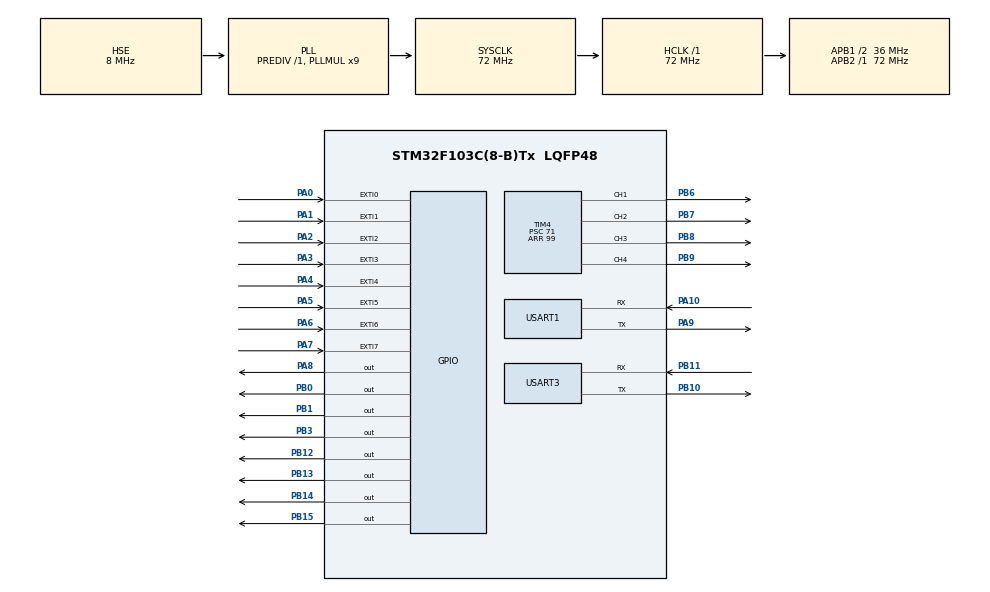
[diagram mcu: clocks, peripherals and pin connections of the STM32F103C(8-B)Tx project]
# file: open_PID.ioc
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Mcu.Family=STM32F1
Mcu.Name=STM32F103C(8-B)Tx
Mcu.Package=LQFP48
NVIC.EXTI0_IRQn=true\:0\:0\:false\:false\:true\:true\:true
NVIC.EXTI1_IRQn=true\:0\:0\:false\:false\:true\:true\:true
NVIC.EXTI2_IRQn=true\:0\:0\:false\:false\:true\:true\:true
NVIC.EXTI3_IRQn=true\:0\:0\:false\:false\:true\:true\:true
NVIC.EXTI4_IRQn=true\:0\:0\:false\:false\:true\:true\:true
NVIC.EXTI9_5_IRQn=true\:0\:0\:false\:false\:true\:true\:true
NVIC.PriorityGroup=NVIC_PRIORITYGROUP_4
NVIC.USART1_IRQn=true\:0\:0\:false\:false\:true\:true\:true
NVIC.USART3_IRQn=true\:0\:0\:false\:false\:true\:true\:true
PA0-WKUP.Signal=GPXTI0
PA1.Signal=GPXTI1
PA10.Mode=Asynchronous
PA10.Signal=USART1_RX
PA13.Mode=Serial_Wire
PA13.Signal=SYS_JTMS-SWDIO
PA14.Mode=Serial_Wire
PA14.Signal=SYS_JTCK-SWCLK
PA2.Signal=GPXTI2
PA3.Signal=GPXTI3
PA4.Signal=GPXTI4
PA5.Signal=GPXTI5
PA6.Signal=GPXTI6
PA7.Signal=GPXTI7
PA8.Signal=GPIO_Output
PA9.Mode=Asynchronous
PA9.Signal=USART1_TX
PB0.Signal=GPIO_Output
PB1.Signal=GPIO_Output
PB10.Mode=Asynchronous
PB10.Signal=USART3_TX
PB11.Mode=Asynchronous
PB11.Signal=USART3_RX
PB12.Signal=GPIO_Output
PB13.Signal=GPIO_Output
PB14.Signal=GPIO_Output
PB15.Signal=GPIO_Output
PB3.Signal=GPIO_Output
PB6.Signal=S_TIM4_CH1
PB7.Signal=S_TIM4_CH2
PB8.Signal=S_TIM4_CH3
PB9.Signal=S_TIM4_CH4
PD0-OSC_IN.Mode=HSE-External-Oscillator
PD0-OSC_IN.Signal=RCC_OSC_IN
PD1-OSC_OUT.Mode=HSE-External-Oscillator
PD1-OSC_OUT.Signal=RCC_OSC_OUT
ProjectManager.HeapSize=0x200
ProjectManager.StackSize=0x400
ProjectManager.TargetToolchain=MDK-ARM V5
RCC.AHBFreq_Value=72000000
RCC.APB1CLKDivider=RCC_HCLK_DIV2
RCC.APB1Freq_Value=36000000
RCC.APB1TimFreq_Value=72000000
RCC.APB2Freq_Value=72000000
RCC.APB2TimFreq_Value=72000000
RCC.HCLKFreq_Value=72000000
RCC.PLLMUL=RCC_PLL_MUL9
RCC.PLLSourceVirtual=RCC_PLLSOURCE_HSE
RCC.SYSCLKFreq_VALUE=72000000
RCC.SYSCLKSource=RCC_SYSCLKSOURCE_PLLCLK
RCC.USBFreq_Value=72000000
SH.S_TIM4_CH1.0=TIM4_CH1,PWM Generation1 CH1
SH.S_TIM4_CH2.0=TIM4_CH2,PWM Generation2 CH2
SH.S_TIM4_CH3.0=TIM4_CH3,PWM Generation3 CH3
SH.S_TIM4_CH4.0=TIM4_CH4,PWM Generation4 CH4
TIM4.Channel-PWM\ Generation1\ CH1=TIM_CHANNEL_1
TIM4.Channel-PWM\ Generation2\ CH2=TIM_CHANNEL_2
TIM4.Channel-PWM\ Generation3\ CH3=TIM_CHANNEL_3
TIM4.Channel-PWM\ Generation4\ CH4=TIM_CHANNEL_4
TIM4.Period=99
TIM4.Prescaler=71
USART1.VirtualMode=VM_ASYNC
USART3.VirtualMode=VM_ASYNC
VP_TIM4_VS_ClockSourceINT.Mode=Internal
board=custom

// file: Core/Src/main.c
/* USER CODE BEGIN Header */
/**
  ******************************************************************************
  * @file           : main.c
  * @brief          : Main program body
  ******************************************************************************
  * @attention
  *
  * <h2><center>&copy; Copyright (c) 2024 STMicroelectronics.
  * All rights reserved.</center></h2>
  *
  * This software component is licensed by ST under BSD 3-Clause license,
  * the "License"; You may not use this file except in compliance with the
  * License. You may obtain a copy of the License at:
  *                        opensource.org/licenses/BSD-3-Clause
  *
  ******************************************************************************
  */
/* USER CODE END Header */
#include "main.h"
#include "tim.h"
#include "usart.h"
#include "gpio.h"
#include "ESP32.h"
#include "motor.h"
#include "ROS.h"

void SystemClock_Config(void);

/* USER CODE BEGIN 0 */
uint8_t rx_buffer[5];
int16_t target_speed[4];
uint8_t rx_ros_buffer[4];

void HAL_UART_RxCpltCallback(UART_HandleTypeDef *huart)
{	if (huart->Instance == USART3)
	{
			if (rx_buffer[0] == 0xA5 && rx_buffer[4] == 0x5A)
			{
            // 提取数据
            control_data.button_status = rx_buffer[1];
            control_data.joystick_x = rx_buffer[2];
            control_data.joystick_y = rx_buffer[3];

            // 更新PID目标值
            Update_PID_Target(control_data);
		  for(int i=0;i<4;i++)
{
	target_speed[i]=2*target_value[i];
}
	Motor_SetSpeed(&htim4, TIM_CHANNEL_1,target_speed[0], GPIOB, GPIO_PIN_12, GPIOB, GPIO_PIN_0);
	Motor_SetSpeed(&htim4, TIM_CHANNEL_2,target_speed[1], GPIOB, GPIO_PIN_13, GPIOB, GPIO_PIN_1);
	Motor_SetSpeed(&htim4, TIM_CHANNEL_3,target_speed[2], GPIOA, GPIO_PIN_8, GPIOB, GPIO_PIN_14);
	Motor_SetSpeed(&htim4, TIM_CHANNEL_4,target_speed[3], GPIOB, GPIO_PIN_3, GPIOB, GPIO_PIN_15);
	}
	else
{
	HAL_NVIC_SystemReset();
	HAL_UART_Receive_IT(&huart3,rx_buffer,5);
}
	HAL_UART_Receive_IT(&huart3,rx_buffer,5);
	}

	if (huart->Instance == USART1)
	{
	if(rx_ros_buffer[0]==0xA5&&rx_ros_buffer[3]==0x0D)
	{
	controlrosdata.ros_line=rx_ros_buffer[1];
	controlrosdata.ros_yaw=rx_ros_buffer[2];
		Update_ROS_Target(controlrosdata);
		Motor_SetSpeed(&htim4, TIM_CHANNEL_1,target_ros_speed[0], GPIOB, GPIO_PIN_12, GPIOB, GPIO_PIN_0);
	Motor_SetSpeed(&htim4, TIM_CHANNEL_2,target_ros_speed[1], GPIOB, GPIO_PIN_13, GPIOB, GPIO_PIN_1);
	Motor_SetSpeed(&htim4, TIM_CHANNEL_3,target_ros_speed[2], GPIOA, GPIO_PIN_8, GPIOB, GPIO_PIN_14);
	Motor_SetSpeed(&htim4, TIM_CHANNEL_4,target_ros_speed[3], GPIOB, GPIO_PIN_3, GPIOB, GPIO_PIN_15);
	}
	else
{
	HAL_NVIC_SystemReset();
	HAL_UART_Receive_IT(&huart1,rx_ros_buffer,4);
}
	HAL_UART_Receive_IT(&huart1,rx_ros_buffer,4);

	}
}

//启动电机

/* USER CODE END 0 */

int main(void)
{

  /* MCU Configuration--------------------------------------------------------*/

  /* Reset of all peripherals, Initializes the Flash interface and the Systick. */
  HAL_Init();

  /* Configure the system clock */
  SystemClock_Config();

  /* Initialize all configured peripherals */
  MX_GPIO_Init();
  MX_TIM4_Init();
  MX_USART3_UART_Init();
  MX_USART1_UART_Init();
  HAL_TIM_Base_Start(&htim4);
  HAL_TIM_PWM_Start(&htim4, TIM_CHANNEL_1);
    HAL_TIM_PWM_Start(&htim4, TIM_CHANNEL_2);
    HAL_TIM_PWM_Start(&htim4, TIM_CHANNEL_3);
    HAL_TIM_PWM_Start(&htim4, TIM_CHANNEL_4);
	HAL_UART_Receive_IT(&huart3,rx_buffer,5);
	HAL_UART_Receive_IT(&huart1,rx_ros_buffer,4);

  /* Infinite loop */
  while (1)
  {

  }
}

void SystemClock_Config(void)
{
  RCC_OscInitTypeDef RCC_OscInitStruct = {0};
  RCC_ClkInitTypeDef RCC_ClkInitStruct = {0};

  /** Initializes the RCC Oscillators according to the specified parameters
  * in the RCC_OscInitTypeDef structure.
  */
  RCC_OscInitStruct.OscillatorType = RCC_OSCILLATORTYPE_HSE;
  RCC_OscInitStruct.HSEState = RCC_HSE_ON;
  RCC_OscInitStruct.HSEPredivValue = RCC_HSE_PREDIV_DIV1;
  RCC_OscInitStruct.HSIState = RCC_HSI_ON;
  RCC_OscInitStruct.PLL.PLLState = RCC_PLL_ON;
  RCC_OscInitStruct.PLL.PLLSource = RCC_PLLSOURCE_HSE;
  RCC_OscInitStruct.PLL.PLLMUL = RCC_PLL_MUL9;
  if (HAL_RCC_OscConfig(&RCC_OscInitStruct) != HAL_OK)
  {
    Error_Handler();
  }
  /** Initializes the CPU, AHB and APB buses clocks
  */
  RCC_ClkInitStruct.ClockType = RCC_CLOCKTYPE_HCLK|RCC_CLOCKTYPE_SYSCLK
                              |RCC_CLOCKTYPE_PCLK1|RCC_CLOCKTYPE_PCLK2;
  RCC_ClkInitStruct.SYSCLKSource = RCC_SYSCLKSOURCE_PLLCLK;
  RCC_ClkInitStruct.AHBCLKDivider = RCC_SYSCLK_DIV1;
  RCC_ClkInitStruct.APB1CLKDivider = RCC_HCLK_DIV2;
  RCC_ClkInitStruct.APB2CLKDivider = RCC_HCLK_DIV1;

  if (HAL_RCC_ClockConfig(&RCC_ClkInitStruct, FLASH_LATENCY_2) != HAL_OK)
  {
    Error_Handler();
  }
}

void Error_Handler(void)
{
  __disable_irq();
  while (1)
  {
  }
}

/************************ (C) COPYRIGHT STMicroelectronics *****END OF FILE****/
